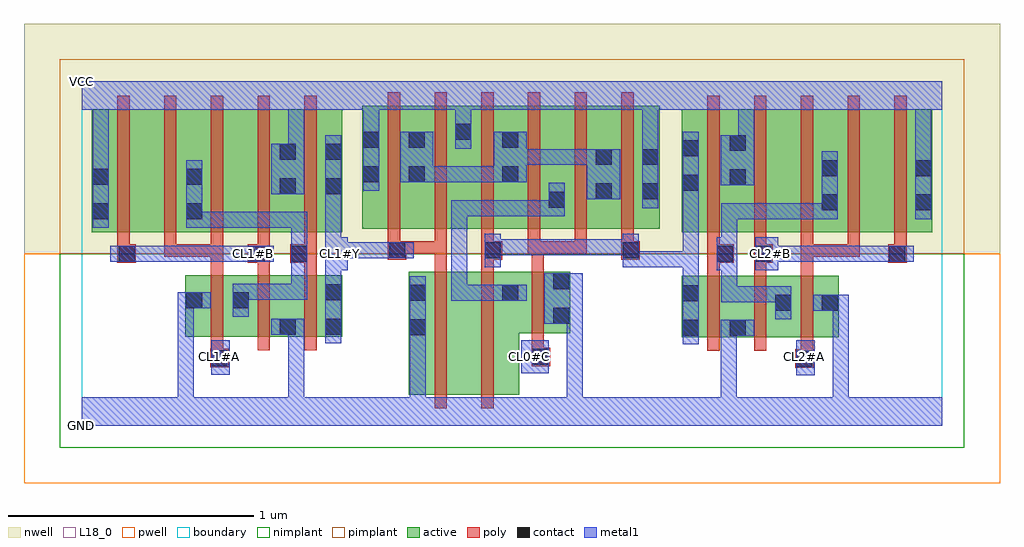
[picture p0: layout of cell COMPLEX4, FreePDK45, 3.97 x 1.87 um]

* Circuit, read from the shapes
.subckt COMPLEX4 CL0#C CL1#A CL1#B CL1#Y CL2#A CL2#B GND VCC
M1 n1 CL1#A GND VSUBS nfet w=0.25u l=0.05u
M2 GND CL1#B n1 VSUBS nfet w=0.25u l=0.05u
M3 CL1#Y n1 GND VSUBS nfet w=0.25u l=0.05u
M4 n2 CL1#Y GND VSUBS nfet w=0.5u l=0.05u
M5 n3 n4 n2 VSUBS nfet w=0.5u l=0.05u
M6 GND CL0#C n3 VSUBS nfet w=0.25u l=0.05u
M7 GND n5 n4 VSUBS nfet w=0.25u l=0.05u
M8 n5 CL2#B GND VSUBS nfet w=0.25u l=0.05u
M9 GND CL2#A n5 VSUBS nfet w=0.25u l=0.05u
M10 n6 CL1#B VCC n7 pfet w=0.5u l=0.05u
M11 n1 CL1#A n6 n7 pfet w=0.5u l=0.05u
M12 n8 CL1#A n1 n7 pfet w=0.5u l=0.05u
M13 VCC CL1#B n8 n7 pfet w=0.5u l=0.05u
M14 CL1#Y n1 VCC n7 pfet w=0.5u l=0.05u
M15 n9 CL1#Y VCC n7 pfet w=0.5u l=0.05u m=2
M16 n9 n4 VCC n7 pfet w=0.5u l=0.05u m=2
M17 n3 CL0#C n9 n7 pfet w=0.5u l=0.05u m=2
M18 VCC n5 n4 n7 pfet w=0.5u l=0.05u
M19 n10 CL2#B VCC n7 pfet w=0.5u l=0.05u
M20 n5 CL2#A n10 n7 pfet w=0.5u l=0.05u
M21 n11 CL2#A n5 n7 pfet w=0.5u l=0.05u
M22 VCC CL2#B n11 n7 pfet w=0.5u l=0.05u
.ends

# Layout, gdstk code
import gdstk
lib = gdstk.Library(unit=1e-6, precision=1e-09)
def R(c, l, rs):  # rectangles x0, y0, x1, y1
    for r in rs: c.add(gdstk.rectangle(r[:2], r[2:], *l))
def A(c, l, x, y, w, h, nx, ny, dx, dy):  # array of equal rectangles
    R(c, l, [(x+i*dx, y+j*dy, x+i*dx+w, y+j*dy+h) for i in range(nx) for j in range(ny)])
active = (1, 0)
pwell = (2, 0)
nwell = (3, 0)
nimplant = (4, 0)
pimplant = (5, 0)
poly = (9, 0)
contact = (10, 0)
metal1 = (11, 0)
L18_0 = (18, 0)
boundary = (235, 0)

complex4 = lib.new_cell('COMPLEX4')
A(complex4, active, 1.325, 0.8, 0.265, 0.5, 5, 1, 0.19, 0)
R(complex4, active, [(1.33,0.125,1.555,0.625), (1.555,0.125,1.78,0.625), (1.33,0.145,1.405,0.625), (1.705,0.2,1.78,0.625), (2.44,0.36,2.705,0.61), (2.44,0.36,2.515,0.61), (2.63,0.36,2.89,0.61), (2.63,0.36,2.705,0.497), (2.815,0.36,3.08,0.61), (2.815,0.36,2.89,0.537), (0.42,0.362,0.685,0.612), (0.61,0.362,0.875,0.612), (0.8,0.362,1.06,0.612), (0.8,0.365,0.875,0.497), (0.985,0.365,1.06,0.612), (1.705,0.375,1.987,0.625), (1.912,0.375,1.987,0.625), (0.42,0.395,0.495,0.612), (0.61,0.395,0.685,0.547), (3.005,0.395,3.08,0.61), (0.04,0.787,0.265,1.287), (0.04,0.787,0.115,1.287), (0.265,0.787,0.495,1.287), (0.42,0.787,0.645,1.287), (0.42,0.787,0.495,1.2), (0.645,0.787,0.875,1.287), (0.8,0.787,0.875,1.287), (0.8,0.787,1.06,1.287), (0.985,0.787,1.06,1.2), (2.44,0.787,2.515,1.2), (2.44,0.787,2.705,1.287), (2.63,0.787,2.855,1.287), (2.63,0.787,2.705,1.287), (2.855,0.787,3.08,1.287), (3.005,0.787,3.235,1.287), (3.005,0.787,3.08,1.2), (3.235,0.787,3.46,1.287), (3.385,0.787,3.46,1.287), (1.14,0.8,1.215,1.3), (1.14,0.8,1.4,1.3), (1.325,0.8,1.4,1.2), (1.895,0.8,1.97,1.07), (2.085,0.8,2.16,1.2), (2.275,0.8,2.35,1.3), (1.515,0.807,1.59,1.3), (1.705,0.807,1.78,1.2)])
R(complex4, pwell, [(-0.235,-0.235,3.735,0.7)])
R(complex4, nwell, [(-0.235,0.7,3.735,1.635)])
R(complex4, nimplant, [(-0.09,-0.09,3.59,0.7)])
R(complex4, pimplant, [(-0.09,0.7,3.59,1.49)])
A(complex4, poly, 2.545, 0.305, 0.05, 0.36, 3, 1, 0.19, 0)
A(complex4, poly, 0.525, 0.307, 0.05, 0.36, 3, 1, 0.19, 0)
A(complex4, poly, 0.145, 0.687, 0.05, 0.095, 5, 1, 0.19, 0)
A(complex4, poly, 2.545, 0.687, 0.05, 0.095, 5, 1, 0.19, 0)
A(complex4, poly, 1.245, 0.7, 0.05, 0.095, 6, 1, 0.19, 0)
A(complex4, poly, 0.145, 0.732, 0.05, 0.61, 5, 1, 0.19, 0)
A(complex4, poly, 2.545, 0.732, 0.05, 0.61, 5, 1, 0.19, 0)
A(complex4, poly, 1.245, 0.745, 0.05, 0.61, 6, 1, 0.19, 0)
R(complex4, poly, [(1.435,0.07,1.485,0.68), (1.625,0.07,1.675,0.68), (2.902,0.235,2.977,0.31), (0.522,0.237,0.597,0.312), (1.83,0.242,1.905,0.317), (2.925,0.26,2.975,0.355), (0.525,0.262,0.575,0.357), (1.83,0.267,1.88,0.37), (1.83,0.32,1.88,0.68), (2.545,0.615,2.595,0.712), (2.735,0.615,2.785,0.712), (2.925,0.615,2.975,0.737), (0.525,0.617,0.575,0.737), (0.715,0.617,0.765,0.712), (0.905,0.617,0.955,0.712), (1.435,0.63,1.485,0.75), (1.625,0.63,1.675,0.725), (1.83,0.63,1.88,0.75), (0.145,0.662,0.22,0.737), (0.675,0.662,0.765,0.737), (0.847,0.662,0.955,0.737), (2.545,0.662,2.652,0.737), (2.735,0.662,2.81,0.737), (3.28,0.662,3.355,0.737), (1.245,0.675,1.32,0.75), (1.625,0.675,1.71,0.75), (2.195,0.675,2.27,0.75), (0.335,0.687,0.575,0.737), (0.335,0.687,0.385,0.737), (0.525,0.687,0.575,0.737), (0.525,0.687,0.575,0.737), (0.525,0.687,0.575,0.737), (2.925,0.687,3.165,0.737), (2.925,0.687,2.975,0.737), (2.925,0.687,2.975,0.737), (2.925,0.687,2.975,0.737), (3.115,0.687,3.165,0.737), (1.27,0.7,1.485,0.75), (1.435,0.7,1.485,0.75), (1.435,0.7,1.485,0.75), (1.435,0.7,1.485,0.75), (1.815,0.7,1.88,0.75), (1.83,0.7,1.88,0.75), (1.83,0.7,1.88,0.75), (1.83,0.7,2.055,0.75), (2.005,0.7,2.055,0.75)])
R(complex4, contact, [(2.907,0.24,2.972,0.305), (0.527,0.242,0.592,0.307), (1.835,0.247,1.9,0.312), (2.445,0.365,2.51,0.43), (2.635,0.365,2.7,0.43), (1.335,0.367,1.4,0.432), (0.805,0.37,0.87,0.435), (0.99,0.37,1.055,0.435), (1.917,0.415,1.982,0.48), (2.82,0.467,2.885,0.532), (3.01,0.467,3.075,0.532), (0.425,0.477,0.49,0.542), (0.615,0.477,0.68,0.542), (2.445,0.505,2.51,0.57), (1.335,0.507,1.4,0.572), (1.71,0.507,1.775,0.572), (0.99,0.51,1.055,0.575), (1.917,0.555,1.982,0.62), (0.15,0.667,0.215,0.732), (0.68,0.667,0.745,0.732), (0.852,0.667,0.917,0.732), (2.582,0.667,2.647,0.732), (2.74,0.667,2.805,0.732), (3.285,0.667,3.35,0.732), (1.25,0.68,1.315,0.745), (1.64,0.68,1.705,0.745), (2.2,0.68,2.265,0.745), (0.045,0.84,0.11,0.905), (0.425,0.84,0.49,0.905), (3.01,0.875,3.075,0.94), (3.39,0.875,3.455,0.94), (1.9,0.887,1.965,0.952), (2.09,0.92,2.155,0.985), (2.28,0.92,2.345,0.985), (0.805,0.942,0.87,1.007), (0.99,0.942,1.055,1.007), (2.445,0.955,2.51,1.02), (2.635,0.977,2.7,1.042), (0.045,0.98,0.11,1.045), (0.425,0.98,0.49,1.045), (1.145,0.99,1.21,1.055), (1.33,0.99,1.395,1.055), (1.71,0.99,1.775,1.055), (3.01,1.015,3.075,1.08), (3.39,1.015,3.455,1.08), (2.09,1.06,2.155,1.125), (2.28,1.06,2.345,1.125), (0.805,1.082,0.87,1.147), (0.99,1.082,1.055,1.147), (2.445,1.095,2.51,1.16), (2.635,1.117,2.7,1.182), (1.145,1.13,1.21,1.195), (1.33,1.13,1.395,1.195), (1.71,1.13,1.775,1.195), (1.52,1.162,1.585,1.227)])
R(complex4, metal1, [(0,0,3.5,0.115), (0.39,0.05,0.455,0.115), (0.39,0.05,0.455,0.115), (0.39,0.05,0.455,0.115), (0.39,0.05,0.455,0.115), (0.39,0.05,0.455,0.115), (0.39,0.05,0.455,0.115), (0.39,0.05,0.455,0.542), (0.84,0.05,0.905,0.115), (0.84,0.05,0.905,0.115), (0.84,0.05,0.905,0.115), (0.84,0.05,0.905,0.115), (0.84,0.05,0.905,0.115), (0.84,0.05,0.905,0.115), (0.84,0.05,0.905,0.435), (1.335,0.05,1.4,0.397), (1.972,0.05,2.037,0.48), (2.6,0.05,2.665,0.115), (2.6,0.05,2.665,0.115), (2.6,0.05,2.665,0.43), (3.055,0.05,3.12,0.115), (3.055,0.05,3.12,0.115), (3.055,0.05,3.12,0.115), (3.055,0.05,3.12,0.115), (3.055,0.05,3.12,0.115), (3.055,0.05,3.12,0.115), (3.055,0.05,3.12,0.532), (2.907,0.205,2.982,0.347), (0.527,0.207,0.602,0.347), (1.787,0.212,1.9,0.347), (2.445,0.33,2.51,0.605), (1.335,0.332,1.4,0.607), (1.335,0.332,1.4,0.397), (1.335,0.332,1.4,0.397), (0.99,0.335,1.055,0.61), (2.6,0.365,2.665,0.43), (2.6,0.365,2.665,0.43), (2.6,0.365,2.665,0.43), (2.6,0.365,2.665,0.43), (2.6,0.365,2.735,0.43), (0.77,0.37,0.905,0.435), (1.882,0.415,2.037,0.62), (1.972,0.415,2.037,0.48), (1.972,0.415,2.037,0.48), (1.972,0.415,2.037,0.48), (1.972,0.415,2.037,0.48), (1.972,0.415,2.037,0.48), (1.972,0.415,2.037,0.48), (2.82,0.432,2.885,0.567), (0.615,0.442,0.68,0.577), (2.975,0.467,3.12,0.532), (0.39,0.477,0.525,0.542), (2.602,0.502,2.667,0.567), (2.602,0.502,2.835,0.567), (2.602,0.502,2.667,0.767), (2.77,0.502,2.835,0.567), (2.77,0.502,2.885,0.567), (1.502,0.507,1.567,0.572), (1.502,0.507,1.567,0.572), (1.502,0.507,1.567,0.572), (1.502,0.507,1.715,0.572), (1.502,0.507,1.567,0.917), (1.65,0.507,1.715,0.572), (1.65,0.507,1.715,0.572), (1.65,0.507,1.81,0.572), (0.615,0.512,0.68,0.577), (0.615,0.512,0.68,0.577), (0.615,0.512,0.917,0.577), (0.852,0.512,0.917,0.577), (0.852,0.512,0.917,0.697), (2.445,0.54,2.51,0.71), (0.99,0.545,1.055,0.697), (0.852,0.632,0.917,0.697), (0.852,0.632,0.917,0.697), (0.852,0.632,0.917,0.767), (0.852,0.632,0.917,0.87), (0.99,0.632,1.082,0.767), (2.582,0.632,2.647,0.767), (2.74,0.632,2.832,0.767), (1.64,0.645,1.705,0.78), (2.2,0.645,2.265,0.78), (2.2,0.645,2.51,0.71), (2.445,0.645,2.51,0.71), (2.445,0.645,2.51,0.71), (2.445,0.645,2.51,0.71), (2.445,0.645,2.51,0.985), (0.115,0.667,0.25,0.732), (0.185,0.667,0.25,0.732), (0.185,0.667,0.25,0.732), (0.185,0.667,0.387,0.732), (0.322,0.667,0.387,0.732), (0.322,0.667,0.387,0.732), (0.322,0.667,0.387,0.732), (0.322,0.667,0.525,0.732), (0.46,0.667,0.525,0.732), (0.46,0.667,0.697,0.732), (0.632,0.667,0.697,0.732), (0.632,0.667,0.697,0.732), (0.632,0.667,0.78,0.732), (2.767,0.667,2.832,0.732), (2.767,0.667,2.832,0.732), (2.767,0.667,2.972,0.732), (2.907,0.667,2.972,0.732), (2.907,0.667,3.177,0.732), (3.112,0.667,3.177,0.732), (3.112,0.667,3.177,0.732), (3.112,0.667,3.177,0.732), (3.112,0.667,3.315,0.732), (3.25,0.667,3.315,0.732), (3.25,0.667,3.315,0.732), (3.25,0.667,3.385,0.732), (1.017,0.68,1.082,0.745), (1.017,0.68,1.082,0.745), (1.017,0.68,1.28,0.745), (1.215,0.68,1.35,0.745), (1.64,0.692,1.705,0.757), (1.64,0.692,1.705,0.757), (1.64,0.692,1.982,0.757), (1.917,0.692,1.982,0.757), (1.917,0.692,1.982,0.757), (1.917,0.692,1.982,0.757), (1.917,0.692,2.127,0.757), (2.062,0.692,2.127,0.757), (2.062,0.692,2.127,0.757), (2.062,0.692,2.127,0.757), (2.062,0.692,2.265,0.757), (0.99,0.702,1.055,0.972), (2.582,0.702,2.667,0.767), (2.602,0.702,2.667,0.767), (2.602,0.702,2.667,0.905), (0.045,0.805,0.11,1.08), (0.425,0.805,0.49,1.08), (0.425,0.805,0.525,0.87), (0.46,0.805,0.525,0.87), (0.46,0.805,0.662,0.87), (0.597,0.805,0.662,0.87), (0.597,0.805,0.662,0.87), (0.597,0.805,0.662,0.87), (0.597,0.805,0.917,0.87), (0.852,0.805,0.917,0.87), (2.602,0.84,2.667,0.905), (2.602,0.84,2.805,0.905), (2.74,0.84,2.805,0.905), (2.74,0.84,2.805,0.905), (2.74,0.84,2.805,0.905), (2.74,0.84,3.04,0.905), (2.975,0.84,3.04,0.905), (2.975,0.84,3.075,0.905), (3.01,0.84,3.075,1.115), (3.39,0.84,3.455,1.115), (1.502,0.852,1.567,0.917), (1.502,0.852,1.567,0.917), (1.502,0.852,1.567,0.917), (1.502,0.852,1.715,0.917), (1.65,0.852,1.715,0.917), (1.65,0.852,1.965,0.917), (1.9,0.852,1.965,0.917), (1.9,0.852,1.965,0.917), (1.9,0.852,1.965,0.987), (2.28,0.885,2.345,1.16), (0.99,0.907,1.055,1.182), (2.055,0.92,2.19,1.125), (2.445,0.92,2.51,1.195), (0.77,0.942,0.905,1.147), (1.145,0.955,1.21,1.23), (2.6,0.977,2.735,1.182), (1.295,0.99,1.43,1.195), (1.365,0.99,1.43,1.055), (1.365,0.99,1.43,1.055), (1.365,0.99,1.567,1.055), (1.502,0.99,1.567,1.055), (1.502,0.99,1.567,1.055), (1.502,0.99,1.567,1.055), (1.502,0.99,1.74,1.055), (1.675,0.99,1.81,1.195), (0.045,1.015,0.11,1.35), (3.39,1.05,3.455,1.35), (1.745,1.06,1.947,1.125), (1.882,1.06,1.947,1.125), (1.882,1.06,1.947,1.125), (1.882,1.06,1.947,1.125), (1.882,1.06,2.12,1.125), (2.055,1.06,2.12,1.125), (2.055,1.06,2.12,1.125), (0.84,1.082,0.905,1.35), (2.28,1.095,2.345,1.35), (2.67,1.117,2.735,1.35), (1.52,1.127,1.585,1.262), (1.145,1.165,1.21,1.35), (1.52,1.197,1.585,1.35), (0,1.285,3.5,1.4)])
R(complex4, L18_0, [(0,0,3.5,0.115), (0.39,0.05,0.455,0.115), (0.39,0.05,0.455,0.115), (0.39,0.05,0.455,0.115), (0.39,0.05,0.455,0.115), (0.39,0.05,0.455,0.115), (0.39,0.05,0.455,0.115), (0.39,0.05,0.455,0.542), (0.84,0.05,0.905,0.115), (0.84,0.05,0.905,0.115), (0.84,0.05,0.905,0.115), (0.84,0.05,0.905,0.115), (0.84,0.05,0.905,0.115), (0.84,0.05,0.905,0.115), (0.84,0.05,0.905,0.435), (1.335,0.05,1.4,0.397), (1.972,0.05,2.037,0.48), (2.6,0.05,2.665,0.115), (2.6,0.05,2.665,0.115), (2.6,0.05,2.665,0.43), (3.055,0.05,3.12,0.115), (3.055,0.05,3.12,0.115), (3.055,0.05,3.12,0.115), (3.055,0.05,3.12,0.115), (3.055,0.05,3.12,0.115), (3.055,0.05,3.12,0.115), (3.055,0.05,3.12,0.532), (2.907,0.205,2.982,0.347), (0.527,0.207,0.602,0.347), (1.787,0.212,1.9,0.347), (0.527,0.247,0.592,0.312), (1.787,0.247,1.852,0.312), (2.907,0.247,2.972,0.312), (1.335,0.332,1.4,0.607), (1.335,0.332,1.4,0.397), (1.335,0.332,1.4,0.397), (0.99,0.335,1.055,0.61), (2.6,0.365,2.735,0.43), (2.6,0.365,2.665,0.43), (2.6,0.365,2.665,0.43), (2.6,0.365,2.665,0.43), (2.6,0.365,2.665,0.43), (0.77,0.37,0.905,0.435), (1.882,0.415,2.037,0.62), (1.972,0.415,2.037,0.48), (1.972,0.415,2.037,0.48), (1.972,0.415,2.037,0.48), (1.972,0.415,2.037,0.48), (1.972,0.415,2.037,0.48), (1.972,0.415,2.037,0.48), (2.975,0.467,3.12,0.532), (0.39,0.477,0.525,0.542), (0.99,0.545,1.055,0.697), (0.99,0.632,1.082,0.767), (2.74,0.632,2.832,0.767), (0.115,0.667,0.25,0.732), (0.185,0.667,0.25,0.732), (0.185,0.667,0.25,0.732), (0.185,0.667,0.387,0.732), (0.322,0.667,0.387,0.732), (0.322,0.667,0.387,0.732), (0.322,0.667,0.387,0.732), (0.322,0.667,0.525,0.732), (0.46,0.667,0.525,0.732), (0.46,0.667,0.697,0.732), (0.632,0.667,0.697,0.732), (0.632,0.667,0.697,0.732), (0.632,0.667,0.78,0.732), (0.667,0.667,0.732,0.732), (1.017,0.667,1.082,0.732), (2.767,0.667,2.832,0.732), (2.767,0.667,2.832,0.732), (2.767,0.667,2.832,0.732), (2.767,0.667,2.972,0.732), (2.907,0.667,2.972,0.732), (2.907,0.667,3.177,0.732), (3.112,0.667,3.177,0.732), (3.112,0.667,3.177,0.732), (3.112,0.667,3.177,0.732), (3.112,0.667,3.315,0.732), (3.25,0.667,3.385,0.732), (3.25,0.667,3.315,0.732), (3.25,0.667,3.315,0.732), (1.017,0.68,1.082,0.745), (1.017,0.68,1.082,0.745), (1.017,0.68,1.28,0.745), (1.215,0.68,1.35,0.745), (0.99,0.702,1.055,0.972), (0.045,0.805,0.11,1.08), (3.39,0.84,3.455,1.115), (2.28,0.885,2.345,1.16), (0.99,0.907,1.055,1.182), (0.77,0.942,0.905,1.147), (1.145,0.955,1.21,1.23), (2.6,0.977,2.735,1.182), (0.045,1.015,0.11,1.35), (3.39,1.05,3.455,1.35), (0.84,1.082,0.905,1.35), (2.28,1.095,2.345,1.35), (2.67,1.117,2.735,1.35), (1.52,1.127,1.585,1.262), (1.145,1.165,1.21,1.35), (1.52,1.197,1.585,1.35), (0,1.285,3.5,1.4)])
R(complex4, boundary, [(0,0,3.5,1.4)])
complex4.add(gdstk.Label('CL0#C', (1.82,0.28), layer=11, texttype=0))
complex4.add(gdstk.Label('CL1#A', (0.56,0.28), layer=11, texttype=0))
complex4.add(gdstk.Label('CL1#B', (0.7,0.7), layer=11, texttype=0))
complex4.add(gdstk.Label('CL1#Y', (1.05,0.7), layer=11, texttype=0))
complex4.add(gdstk.Label('CL2#A', (2.94,0.28), layer=11, texttype=0))
complex4.add(gdstk.Label('CL2#B', (2.8,0.7), layer=11, texttype=0))
complex4.add(gdstk.Label('VCC', (0,1.4), layer=11, texttype=0))
complex4.add(gdstk.Label('GND', (0,0), layer=11, texttype=0))

lib.write_gds('COMPLEX4.gds')
